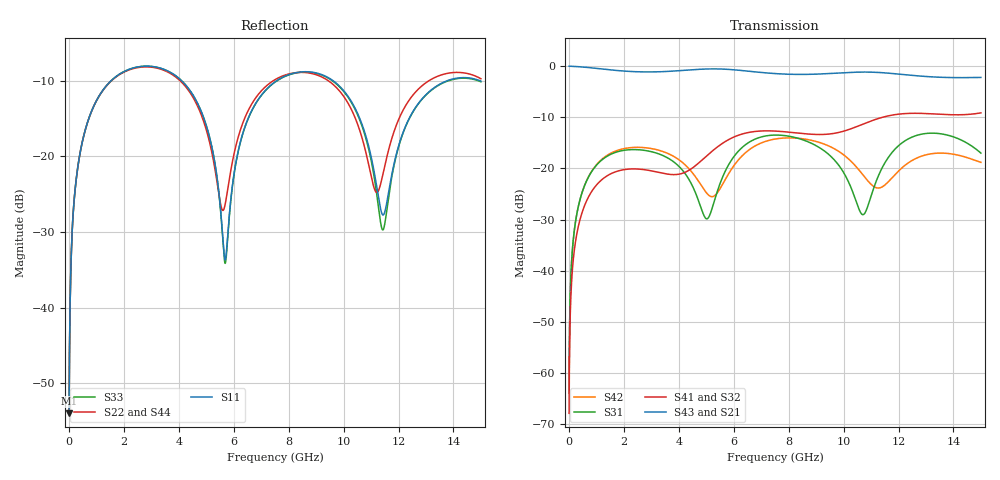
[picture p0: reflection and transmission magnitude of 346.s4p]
! Created with skrf 1.8.0 (http://scikit-rf.org).
# GHz S RI R 50.0
!freq ReS11 ImS11 ReS12 ImS12 ReS13 ImS13
! ReS14 ImS14
! ReS21 ImS21 ReS22 ImS22 ReS23 ImS23
! ReS24 ImS24
! ReS31 ImS31 ReS32 ImS32 ReS33 ImS33
! ReS34 ImS34
! ReS41 ImS41 ReS42 ImS42 ReS43 ImS43
! ReS44 ImS44
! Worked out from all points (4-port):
!   2499 points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, 5 MHz to 15 GHz, reference 50 ohm
!   strongest paths, dB at 5 MHz, 3.476 GHz, 7.19 GHz, 11.1 GHz, 15 GHz:
!     S43: 0.0, -1.1, -1.3, -1.2, -2.2
!     S21: 0.0, -1.1, -1.3, -1.2, -2.2
!     S41: -67.9, -21.0, -12.7, -10.5, -9.1
!     S32: -67.9, -21.0, -12.7, -10.5, -9.1
!     S31: -63.9, -17.6, -13.6, -23.8, -17.0
!     S42: -63.9, -16.8, -14.7, -23.5, -18.8
!   lowest |S11| = -54.0 dB at 5 MHz (marker M1), VSWR 1.00, Z = 50.2 + j0.121 ohm
!   |S11| at or under -10 dB: start of sweep to 1.528 GHz; 4.108 GHz to 7.554 GHz (3.446 GHz wide, 59.1 % of centre); 9.628 GHz to 13.75 GHz (4.127 GHz wide, 35.3 % of centre) (the widest 3 of 4)
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0.005  0.00159 0.00121  0.9984 -0.0031  7.97e-05 0.000634  -7.76e-05 -0.000397
       0.9984 -0.0031  0.00159 0.00121  -7.76e-05 -0.000397  8e-05 0.000634
       7.97e-05 0.000634  -7.76e-05 -0.000397  0.00159 0.00121  0.9984 -0.0031
       -7.76e-05 -0.000397  8e-05 0.000634  0.9984 -0.0031  0.00159 0.00121
0.3126303  0.0229 0.0797  0.9688 -0.1929  0.01 0.0379  -0.00872 -0.0234
           0.9688 -0.1929  0.0228 0.0797  -0.00872 -0.0234  0.0109 0.0377
           0.01 0.0379  -0.00872 -0.0234  0.0229 0.0797  0.9688 -0.1929
           -0.00872 -0.0234  0.0109 0.0377  0.9688 -0.1929  0.0228 0.0797
1.569404  0.2664 0.1797  0.5618 -0.7225  0.12 0.0708  -0.0895 -0.0083
          0.5618 -0.7225  0.2626 0.1821  -0.0894 -0.00834  0.1317 0.0555
          0.12 0.0708  -0.0894 -0.00834  0.2664 0.1797  0.5618 -0.7225
          -0.0895 -0.0083  0.1317 0.0555  0.5618 -0.7225  0.2626 0.1821
5.483535  0.0225 -0.0472  -0.9257 -0.1481  0.0352 0.0595  -0.024 0.1664
          -0.9257 -0.1481  0.0448 -0.028  -0.0249 0.1663  -0.0478 0.0399
          0.0352 0.0595  -0.0249 0.1663  0.0216 -0.0473  -0.9256 -0.1484
          -0.024 0.1664  -0.0478 0.0399  -0.9256 -0.1484  0.0458 -0.0278
8.834931  0.358 -0.0515  0.0332 0.8303  0.1615 -0.0692  0.2002 -0.0803
          0.0332 0.8303  0.3496 -0.0569  0.2003 -0.0784  0.1527 -0.1099
          0.1615 -0.0692  0.2003 -0.0784  0.3559 -0.0521  0.0327 0.8312
          0.2002 -0.0803  0.1527 -0.1099  0.0327 0.8312  0.3472 -0.0554
11.42976  0.0407 -0.00456  0.8582 0.0759  0.0759 0.0718  0.0163 -0.3164
          0.8582 0.0759  0.0636 0.0414  0.0205 -0.3169  -0.0455 0.0486
          0.0759 0.0718  0.0205 -0.3169  0.0326 -0.00153  0.8581 0.0761
          0.0163 -0.3164  -0.0455 0.0486  0.8581 0.0761  0.0714 0.0446
15  0.3098 -0.0586  -0.1716 -0.7545  0.0201 -0.1397  -0.3343 0.1003
    -0.1716 -0.7545  0.315 -0.0873  -0.3356 0.0973  -0.000158 -0.1146
    0.0201 -0.1397  -0.3356 0.0973  0.3088 -0.0449  -0.1693 -0.7563
    -0.3343 0.1003  -0.000158 -0.1146  -0.1693 -0.7563  0.309 -0.0966
